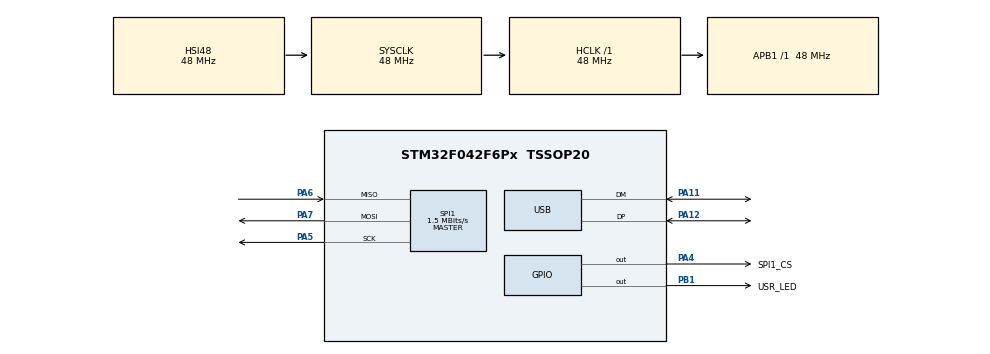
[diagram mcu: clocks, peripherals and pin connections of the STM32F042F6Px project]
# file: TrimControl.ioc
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FREERTOS.INCLUDE_vTaskDelete=0
FREERTOS.INCLUDE_vTaskSuspend=0
FREERTOS.MEMORY_ALLOCATION=1
FREERTOS.Tasks01=defaultTask,0,128,StartDefaultTask,Default,NULL,Static,defaultTaskBuffer,defaultTaskControlBlock
FREERTOS.configMAX_PRIORITIES=4
Mcu.Family=STM32F0
Mcu.Name=STM32F042F6Px
Mcu.Package=TSSOP20
NVIC.TIM1_BRK_UP_TRG_COM_IRQn=true\:3\:0\:false\:false\:true\:false\:false\:true\:true
NVIC.TimeBase=TIM1_BRK_UP_TRG_COM_IRQn
NVIC.TimeBaseIP=TIM1
NVIC.USB_IRQn=true\:3\:0\:false\:false\:true\:true\:false\:true\:true
PA11.Mode=Device
PA11.Signal=USB_DM
PA12.Mode=Device
PA12.Signal=USB_DP
PA13.Mode=Serial_Wire
PA13.Signal=SYS_SWDIO
PA14.Mode=Serial_Wire
PA14.Signal=SYS_SWCLK
PA4.GPIO_Label=SPI1_CS
PA4.GPIO_ModeDefaultOutputPP=GPIO_MODE_OUTPUT_PP
PA4.GPIO_PuPd=GPIO_NOPULL
PA4.GPIO_Speed=GPIO_SPEED_FREQ_HIGH
PA4.PinState=GPIO_PIN_SET
PA4.Signal=GPIO_Output
PA5.Mode=Full_Duplex_Master
PA5.Signal=SPI1_SCK
PA6.Mode=Full_Duplex_Master
PA6.Signal=SPI1_MISO
PA7.Mode=Full_Duplex_Master
PA7.Signal=SPI1_MOSI
PB1.GPIO_Label=USR_LED
PB1.GPIO_ModeDefaultOutputPP=GPIO_MODE_OUTPUT_PP
PB1.GPIO_Speed=GPIO_SPEED_FREQ_HIGH
PB1.PinState=GPIO_PIN_SET
PB1.Signal=GPIO_Output
ProjectManager.HeapSize=0x200
ProjectManager.StackSize=0x400
ProjectManager.TargetToolchain=CMake
RCC.AHBFreq_Value=48000000
RCC.APB1Freq_Value=48000000
RCC.APB1TimFreq_Value=48000000
RCC.HCLKFreq_Value=48000000
RCC.PLLSourceVirtual=RCC_PLLSOURCE_HSI48
RCC.SYSCLKFreq_VALUE=48000000
RCC.SYSCLKSource=RCC_SYSCLKSOURCE_HSI48
RCC.USBFreq_Value=48000000
SPI1.BaudRatePrescaler=SPI_BAUDRATEPRESCALER_32
SPI1.CLKPhase=SPI_PHASE_2EDGE
SPI1.CalculateBaudRate=1.5 MBits/s
SPI1.DataSize=SPI_DATASIZE_8BIT
SPI1.Direction=SPI_DIRECTION_2LINES
SPI1.Mode=SPI_MODE_MASTER
SPI1.VirtualType=VM_MASTER
USB_DEVICE.CLASS_NAME_FS=CUSTOM_HID
USB_DEVICE.MANUFACTURER_STRING=DexterCai's
USB_DEVICE.PID_CUSTOMHID_FS=0x6005
USB_DEVICE.PRODUCT_STRING_CUSTOMHID_FS=Trim Control
USB_DEVICE.VID=0x0483
USB_DEVICE.VirtualMode=CustomHid
USB_DEVICE.VirtualModeFS=Custom_Hid_FS
VP_FREERTOS_VS_CMSIS_V1.Mode=CMSIS_V1
VP_RCC_USB.Mode=CRS SYNC Source USB
VP_SYS_VS_PINREMAP.Mode=PINREMAP
VP_SYS_VS_tim1.Mode=TIM1
VP_USB_DEVICE_VS_USB_DEVICE_CUSTOM_HID_FS.Mode=CUSTOM_HID_FS
board=custom

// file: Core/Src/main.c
/* USER CODE BEGIN Header */
/**
  ******************************************************************************
  * @file           : main.c
  * @brief          : Main program body
  ******************************************************************************
  * @attention
  *
  * Copyright (c) 2025 STMicroelectronics.
  * All rights reserved.
  *
  * This software is licensed under terms that can be found in the LICENSE file
  * in the root directory of this software component.
  * If no LICENSE file comes with this software, it is provided AS-IS.
  *
  ******************************************************************************
  */
/* USER CODE END Header */
#include "main.h"
#include "cmsis_os.h"
#include "usb_device.h"

/* USER CODE BEGIN Includes */
#include "global.h"
#include "user.h"
#include "as5048a/as5048a.h"
/* USER CODE END Includes */

SPI_HandleTypeDef hspi1;

osThreadId defaultTaskHandle;
uint32_t defaultTaskBuffer[ 128 ];
osStaticThreadDef_t defaultTaskControlBlock;
/* USER CODE BEGIN PV */
uint32_t As5048ReadTaskBuffer[ 64 ];
osStaticThreadDef_t As5048ReadTaskControlBlock;

uint32_t ReportTaskBuffer[ 48 ];
osStaticThreadDef_t ReportTaskControlBlock;
/* USER CODE END PV */

void SystemClock_Config(void);
static void MX_GPIO_Init(void);
static void MX_SPI1_Init(void);
void StartDefaultTask(void const * argument);

int main(void)
{

  /* USER CODE BEGIN 1 */
  MedianFilter_Init(&mf_filter, 9);
  /* USER CODE END 1 */

  /* MCU Configuration--------------------------------------------------------*/

  /* Reset of all peripherals, Initializes the Flash interface and the Systick. */
  HAL_Init();

  /* Configure the system clock */
  SystemClock_Config();

  /* Initialize all configured peripherals */
  MX_GPIO_Init();
  MX_SPI1_Init();

  /* Create the thread(s) */
  /* definition and creation of defaultTask */
  osThreadStaticDef(defaultTask, StartDefaultTask, osPriorityNormal, 0, 128, defaultTaskBuffer, &defaultTaskControlBlock);
  defaultTaskHandle = osThreadCreate(osThread(defaultTask), NULL);

  /* USER CODE BEGIN RTOS_THREADS */
  /* add threads, ... */
  xTaskCreateStatic(As5048Read, "As5048Read", 64, NULL, osPriorityNormal, As5048ReadTaskBuffer, &As5048ReadTaskControlBlock);
  xTaskCreateStatic(HidReport, "HidReport", 48, NULL, osPriorityAboveNormal, ReportTaskBuffer, &ReportTaskControlBlock);
  /* USER CODE END RTOS_THREADS */

  /* Start scheduler */
  osKernelStart();

  /* We should never get here as control is now taken by the scheduler */

  /* Infinite loop */
  while (1)
  {

  }
}

void SystemClock_Config(void)
{
  RCC_OscInitTypeDef RCC_OscInitStruct = {0};
  RCC_ClkInitTypeDef RCC_ClkInitStruct = {0};
  RCC_PeriphCLKInitTypeDef PeriphClkInit = {0};
  RCC_CRSInitTypeDef RCC_CRSInitStruct = {0};

  /** Initializes the RCC Oscillators according to the specified parameters
  * in the RCC_OscInitTypeDef structure.
  */
  RCC_OscInitStruct.OscillatorType = RCC_OSCILLATORTYPE_HSI48;
  RCC_OscInitStruct.HSI48State = RCC_HSI48_ON;
  RCC_OscInitStruct.PLL.PLLState = RCC_PLL_NONE;
  if (HAL_RCC_OscConfig(&RCC_OscInitStruct) != HAL_OK)
  {
    Error_Handler();
  }

  /** Initializes the CPU, AHB and APB buses clocks
  */
  RCC_ClkInitStruct.ClockType = RCC_CLOCKTYPE_HCLK|RCC_CLOCKTYPE_SYSCLK
                              |RCC_CLOCKTYPE_PCLK1;
  RCC_ClkInitStruct.SYSCLKSource = RCC_SYSCLKSOURCE_HSI48;
  RCC_ClkInitStruct.AHBCLKDivider = RCC_SYSCLK_DIV1;
  RCC_ClkInitStruct.APB1CLKDivider = RCC_HCLK_DIV1;

  if (HAL_RCC_ClockConfig(&RCC_ClkInitStruct, FLASH_LATENCY_1) != HAL_OK)
  {
    Error_Handler();
  }
  PeriphClkInit.PeriphClockSelection = RCC_PERIPHCLK_USB;
  PeriphClkInit.UsbClockSelection = RCC_USBCLKSOURCE_HSI48;

  if (HAL_RCCEx_PeriphCLKConfig(&PeriphClkInit) != HAL_OK)
  {
    Error_Handler();
  }

  /** Enable the SYSCFG APB clock
  */
  __HAL_RCC_CRS_CLK_ENABLE();

  /** Configures CRS
  */
  RCC_CRSInitStruct.Prescaler = RCC_CRS_SYNC_DIV1;
  RCC_CRSInitStruct.Source = RCC_CRS_SYNC_SOURCE_USB;
  RCC_CRSInitStruct.Polarity = RCC_CRS_SYNC_POLARITY_RISING;
  RCC_CRSInitStruct.ReloadValue = __HAL_RCC_CRS_RELOADVALUE_CALCULATE(48000000,1000);
  RCC_CRSInitStruct.ErrorLimitValue = 34;
  RCC_CRSInitStruct.HSI48CalibrationValue = 32;

  HAL_RCCEx_CRSConfig(&RCC_CRSInitStruct);
}

static void MX_SPI1_Init(void)
{

  /* SPI1 parameter configuration*/
  hspi1.Instance = SPI1;
  hspi1.Init.Mode = SPI_MODE_MASTER;
  hspi1.Init.Direction = SPI_DIRECTION_2LINES;
  hspi1.Init.DataSize = SPI_DATASIZE_8BIT;
  hspi1.Init.CLKPolarity = SPI_POLARITY_LOW;
  hspi1.Init.CLKPhase = SPI_PHASE_2EDGE;
  hspi1.Init.NSS = SPI_NSS_SOFT;
  hspi1.Init.BaudRatePrescaler = SPI_BAUDRATEPRESCALER_32;
  hspi1.Init.FirstBit = SPI_FIRSTBIT_MSB;
  hspi1.Init.TIMode = SPI_TIMODE_DISABLE;
  hspi1.Init.CRCCalculation = SPI_CRCCALCULATION_DISABLE;
  hspi1.Init.CRCPolynomial = 7;
  hspi1.Init.CRCLength = SPI_CRC_LENGTH_DATASIZE;
  hspi1.Init.NSSPMode = SPI_NSS_PULSE_DISABLE;
  if (HAL_SPI_Init(&hspi1) != HAL_OK)
  {
    Error_Handler();
  }
  /* USER CODE BEGIN SPI1_Init 2 */
  AS5048A_Init(&as5048a_1, &hspi1, SPI1_CS_GPIO_Port, SPI1_CS_Pin);

  /* USER CODE END SPI1_Init 2 */

}

static void MX_GPIO_Init(void)
{
  GPIO_InitTypeDef GPIO_InitStruct = {0};

  /* GPIO Ports Clock Enable */
  __HAL_RCC_GPIOA_CLK_ENABLE();
  __HAL_RCC_GPIOB_CLK_ENABLE();

  /*Configure GPIO pin Output Level */
  HAL_GPIO_WritePin(SPI1_CS_GPIO_Port, SPI1_CS_Pin, GPIO_PIN_SET);

  /*Configure GPIO pin Output Level */
  HAL_GPIO_WritePin(USR_LED_GPIO_Port, USR_LED_Pin, GPIO_PIN_SET);

  /*Configure GPIO pin : SPI1_CS_Pin */
  GPIO_InitStruct.Pin = SPI1_CS_Pin;
  GPIO_InitStruct.Mode = GPIO_MODE_OUTPUT_PP;
  GPIO_InitStruct.Pull = GPIO_NOPULL;
  GPIO_InitStruct.Speed = GPIO_SPEED_FREQ_HIGH;
  HAL_GPIO_Init(SPI1_CS_GPIO_Port, &GPIO_InitStruct);

  /*Configure GPIO pin : USR_LED_Pin */
  GPIO_InitStruct.Pin = USR_LED_Pin;
  GPIO_InitStruct.Mode = GPIO_MODE_OUTPUT_PP;
  GPIO_InitStruct.Pull = GPIO_NOPULL;
  GPIO_InitStruct.Speed = GPIO_SPEED_FREQ_HIGH;
  HAL_GPIO_Init(USR_LED_GPIO_Port, &GPIO_InitStruct);

}

void StartDefaultTask(void const * argument)
{
  /* init code for USB_DEVICE */
  MX_USB_DEVICE_Init();
  /* USER CODE BEGIN 5 */
  /* Infinite loop */
  for(;;)
  {
    if (hUsbDeviceFS.dev_state != USBD_STATE_CONFIGURED)
    {
      HAL_GPIO_TogglePin(USR_LED_GPIO_Port, USR_LED_Pin);
      osDelay(pdMS_TO_TICKS(500));
    }else
    {
      HAL_GPIO_TogglePin(USR_LED_GPIO_Port, USR_LED_Pin);
      osDelay(pdMS_TO_TICKS(30));
    }
    osDelay(1);
  }
  /* USER CODE END 5 */
}

void HAL_TIM_PeriodElapsedCallback(TIM_HandleTypeDef *htim)
{
  if (htim->Instance == TIM1) {
    HAL_IncTick();
  }
}

void Error_Handler(void)
{
  __disable_irq();
  while (1)
  {
  }
}
